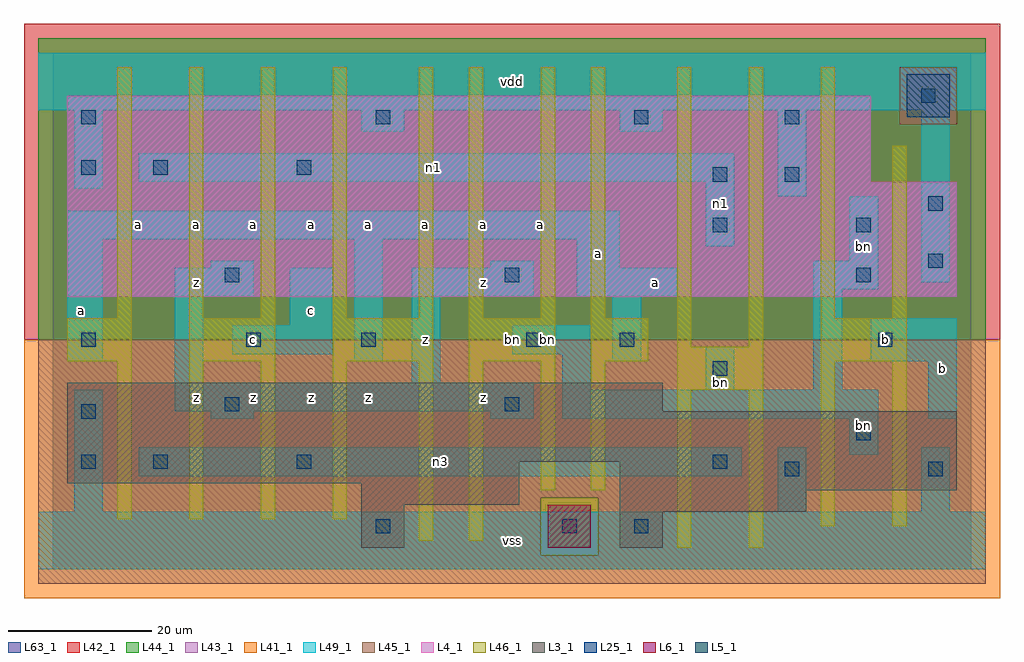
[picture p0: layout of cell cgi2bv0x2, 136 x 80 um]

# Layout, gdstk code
import gdstk
lib = gdstk.Library(unit=1e-6, precision=1e-09)
def R(c, l, rs):  # rectangles x0, y0, x1, y1
    for r in rs: c.add(gdstk.rectangle(r[:2], r[2:], *l))
def A(c, l, x, y, w, h, nx, ny, dx, dy):  # array of equal rectangles
    R(c, l, [(x+i*dx, y+j*dy, x+i*dx+w, y+j*dy+h) for i in range(nx) for j in range(ny)])
L3_1 = (3, 1)
L4_1 = (4, 1)
L5_1 = (5, 1)
L6_1 = (6, 1)
L25_1 = (25, 1)
L41_1 = (41, 1)
L42_1 = (42, 1)
L43_1 = (43, 1)
L44_1 = (44, 1)
L45_1 = (45, 1)
L46_1 = (46, 1)
L49_1 = (49, 1)
L63_1 = (63, 1)

cgi2bv0x2 = lib.new_cell('cgi2bv0x2')
R(cgi2bv0x2, L3_1, [(43,3,49,9), (79,3,85,8), (79,8,105,11), (43,9,65,12), (79,11,126,15), (2,12,65,15), (2,15,126,22), (2,22,85,26)])
R(cgi2bv0x2, L4_1, [(2,38,126,54), (2,54,114,66)])
R(cgi2bv0x2, L5_1, [(119,63,125,69)])
R(cgi2bv0x2, L6_1, [(69,3,75,9), (69,3,75,9)])
R(cgi2bv0x2, L25_1, [(45,5,47,7), (71,5,73,7), (81,5,83,7), (102,13,104,15), (122,13,124,15), (4,14,6,16), (14,14,16,16), (34,14,36,16), (92,14,94,16), (112,18,114,20), (4,21,6,23), (24,22,26,24), (63,22,65,24), (92,27,94,29), (4,31,6,33), (27,31,29,33), (43,31,45,33), (66,31,68,33), (79,31,81,33), (115,31,117,33), (24,40,26,42), (63,40,65,42), (112,40,114,42), (122,42,124,44), (92,47,94,49), (112,47,114,49), (122,50,124,52), (92,54,94,56), (102,54,104,56), (4,55,6,57), (14,55,16,57), (34,55,36,57), (4,62,6,64), (45,62,47,64), (81,62,83,64), (102,62,104,64), (121,65,123,67)])
R(cgi2bv0x2, L41_1, [(-4,-4,132,32)])
R(cgi2bv0x2, L42_1, [(-4,32,132,76)])
R(cgi2bv0x2, L43_1, [(43,3,49,9), (69,3,75,9), (79,3,85,8), (79,8,105,11), (43,9,65,12), (79,11,126,15), (2,12,65,15), (2,15,126,22), (2,22,85,26), (2,38,126,54), (2,54,114,66), (119,63,125,69)])
R(cgi2bv0x2, L44_1, [(68,2,76,10), (-2,32,130,62), (-2,62,118,70), (126,62,130,70), (-2,70,130,74)])
R(cgi2bv0x2, L45_1, [(-2,-2,130,2), (-2,2,68,10), (76,2,130,10), (-2,10,130,32), (118,62,126,70)])
A(cgi2bv0x2, L46_1, 9, 7, 2, 22, 4, 1, 10, 0)
A(cgi2bv0x2, L46_1, 9, 35, 2, 35, 4, 1, 10, 0)
R(cgi2bv0x2, L46_1, [(87,3,89,25), (97,3,99,25), (51,4,53,29), (58,4,60,29), (107,6,109,29), (117,6,119,29), (68,11,70,29), (75,11,77,29), (87,25,99,31), (2,29,11,35), (19,29,31,35), (39,29,53,35), (58,29,70,35), (75,29,83,35), (107,29,119,35), (87,31,89,70), (97,31,99,70), (51,35,53,70), (58,35,60,70), (68,35,70,70), (75,35,77,70), (107,35,109,70), (117,35,119,59)])
R(cgi2bv0x2, L49_1, [(-2,0,130,8), (3,8,7,25), (101,8,105,17), (121,8,125,17), (12,13,96,17), (111,16,115,21), (22,21,28,22), (61,21,67,22), (71,21,115,25), (122,21,126,29), (17,22,67,26), (71,25,75,30), (91,25,95,31), (106,25,110,39), (17,26,21,38), (50,26,54,38), (2,29,7,46), (42,29,46,46), (78,29,82,38), (114,29,126,35), (25,30,39,34), (64,30,75,34), (33,34,39,42), (17,38,28,42), (50,38,67,42), (73,38,87,42), (106,39,115,43), (121,40,125,64), (22,42,28,43), (61,42,67,43), (73,42,79,46), (111,43,115,52), (91,45,95,54), (2,46,79,50), (101,52,105,64), (3,53,7,64), (12,54,95,58), (43,61,49,64), (79,61,85,64), (-2,64,130,72)])
R(cgi2bv0x2, L63_1, [(0,0,128,72)])
cgi2bv0x2.add(gdstk.Label('bn', (64,32), layer=46, texttype=1))
cgi2bv0x2.add(gdstk.Label('z', (20,24), layer=49, texttype=1))
cgi2bv0x2.add(gdstk.Label('z', (20,40), layer=49, texttype=1))
cgi2bv0x2.add(gdstk.Label('a', (4,36), layer=49, texttype=1))
cgi2bv0x2.add(gdstk.Label('a', (12,48), layer=49, texttype=1))
cgi2bv0x2.add(gdstk.Label('a', (20,48), layer=49, texttype=1))
cgi2bv0x2.add(gdstk.Label('z', (28,24), layer=49, texttype=1))
cgi2bv0x2.add(gdstk.Label('z', (36,24), layer=49, texttype=1))
cgi2bv0x2.add(gdstk.Label('z', (44,24), layer=49, texttype=1))
cgi2bv0x2.add(gdstk.Label('c', (28,32), layer=49, texttype=1))
cgi2bv0x2.add(gdstk.Label('c', (36,36), layer=49, texttype=1))
cgi2bv0x2.add(gdstk.Label('a', (28,48), layer=49, texttype=1))
cgi2bv0x2.add(gdstk.Label('a', (36,48), layer=49, texttype=1))
cgi2bv0x2.add(gdstk.Label('a', (44,48), layer=49, texttype=1))
cgi2bv0x2.add(gdstk.Label('vss', (64,4), layer=49, texttype=1))
cgi2bv0x2.add(gdstk.Label('z', (60,24), layer=49, texttype=1))
cgi2bv0x2.add(gdstk.Label('bn', (69,32), layer=49, texttype=1))
cgi2bv0x2.add(gdstk.Label('z', (52,32), layer=49, texttype=1))
cgi2bv0x2.add(gdstk.Label('z', (60,40), layer=49, texttype=1))
cgi2bv0x2.add(gdstk.Label('a', (52,48), layer=49, texttype=1))
cgi2bv0x2.add(gdstk.Label('a', (60,48), layer=49, texttype=1))
cgi2bv0x2.add(gdstk.Label('a', (68,48), layer=49, texttype=1))
cgi2bv0x2.add(gdstk.Label('vdd', (64,68), layer=49, texttype=1))
cgi2bv0x2.add(gdstk.Label('n3', (54,15), layer=49, texttype=1))
cgi2bv0x2.add(gdstk.Label('bn', (93,26), layer=49, texttype=1))
cgi2bv0x2.add(gdstk.Label('a', (84,40), layer=49, texttype=1))
cgi2bv0x2.add(gdstk.Label('a', (76,44), layer=49, texttype=1))
cgi2bv0x2.add(gdstk.Label('n1', (93,51), layer=49, texttype=1))
cgi2bv0x2.add(gdstk.Label('n1', (53,56), layer=49, texttype=1))
cgi2bv0x2.add(gdstk.Label('bn', (113,20), layer=49, texttype=1))
cgi2bv0x2.add(gdstk.Label('b', (116,32), layer=49, texttype=1))
cgi2bv0x2.add(gdstk.Label('b', (124,28), layer=49, texttype=1))
cgi2bv0x2.add(gdstk.Label('bn', (113,45), layer=49, texttype=1))

lib.write_gds('cgi2bv0x2.gds')
